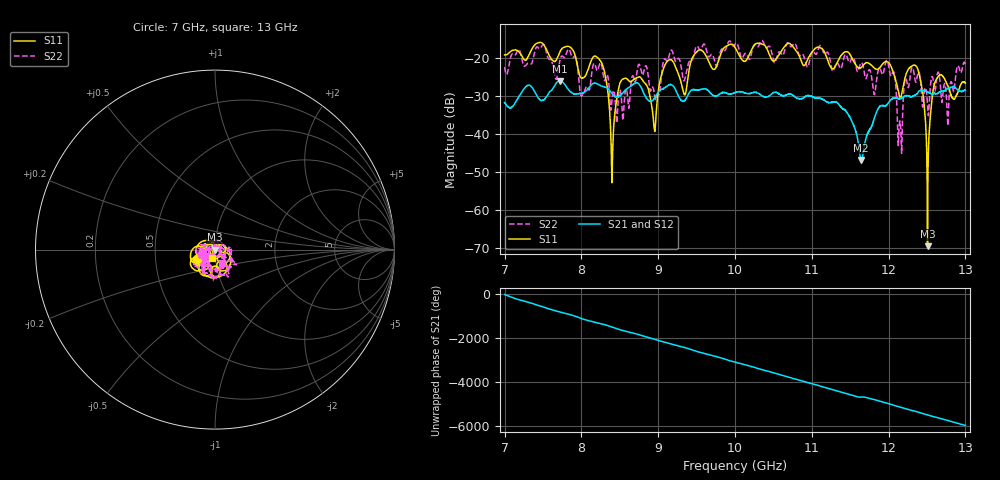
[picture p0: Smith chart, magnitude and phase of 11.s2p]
[Version] 2.0
! Rohde & Schwarz Vector Network Analyzer
! Rohde-Schwarz,ZNL20-2Port,1323001220200009,1.71.1.10-23.02.1.238
! Port Assignments:
! Nominal Port -> Actual Test Port
!  1 -> 1
!  2 -> 2
! Created: GMT+3 2024-09-24 16:05:47
# Hz S DB R 50
[Number of Ports] 2
[Two-Port Data Order] 21_12
! freq[Hz]  S11[mag dB]  S11[ang]  S21[mag dB]  S21[ang]  S12[mag dB]  S12[ang]  S22[mag dB]  S22[ang]
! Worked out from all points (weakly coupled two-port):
!   6001 points, 7 GHz to 13 GHz, reference 50 ohm
!   highest |S21| = -25.96 dB at 7.718 GHz (marker M1); lowest = -46.8 dB at 11.64 GHz (marker M2)
!   lowest |S11| = -69.5 dB at 12.51 GHz (marker M3), VSWR 1.00, Z = 50 - j0.0247 ohm
!   |S11| at or under -10 dB: start of sweep to end of sweep
!   |S22| runs from -45.0 to -15.3 dB; largest |S21 - S12| = 0.001
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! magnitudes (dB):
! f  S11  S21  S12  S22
! 7 GHz  -19.1  -31.6  -31.6  -22.3
! 7.718 GHz  -18.3  -26.0  -26.0  -20.7
! 8 GHz  -25.1  -29.2  -29.3  -29.9
! 8.259 GHz  -21.0  -27.3  -27.2  -21.5
! 8.401 GHz  -49.1  -29.3  -29.3  -30.3
! 8.531 GHz  -25.6  -29.3  -29.2  -33.9
! 8.751 GHz  -24.8  -26.8  -26.8  -21.5
! 8.946 GHz  -38.2  -30.6  -30.6  -28.8
! 9 GHz  -28.6  -28.9  -28.8  -29.5
! 9.167 GHz  -20.3  -26.9  -26.9  -17.8
! 9.342 GHz  -29.5  -31.2  -31.2  -25.7
! 10 GHz  -17.1  -29.0  -29.0  -16.2
! 11 GHz  -18.5  -30.0  -30.0  -18.4
! 11.64 GHz  -22.4  -46.8  -46.5  -21.2
! 12 GHz  -21.1  -31.6  -31.6  -21.9
! 12.15 GHz  -30.3  -30.6  -30.6  -36.5
! 12.22 GHz  -24.7  -29.9  -29.8  -25.3
! 12.37 GHz  -22.4  -29.3  -29.3  -25.0
! 12.51 GHz  -69.5  -28.9  -28.9  -32.2
! 12.63 GHz  -25.3  -29.3  -29.3  -24.8
! 12.77 GHz  -27.3  -28.0  -28.0  -37.7
! 13 GHz  -26.4  -28.3  -28.4  -21.6
